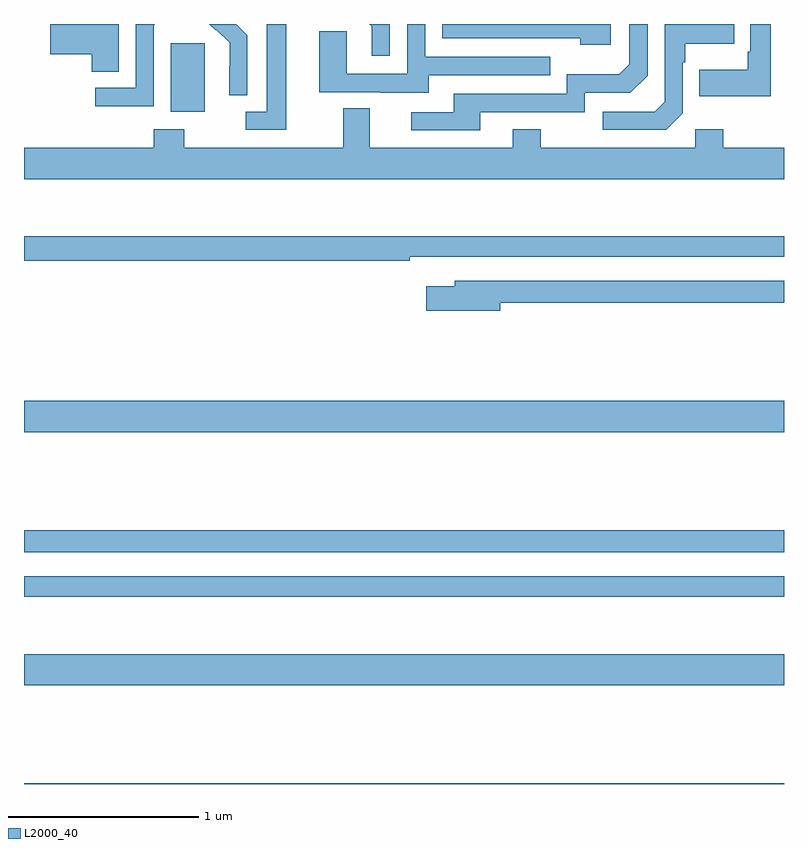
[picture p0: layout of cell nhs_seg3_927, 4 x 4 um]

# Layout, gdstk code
import gdstk
lib = gdstk.Library(unit=1e-6, precision=1e-09)
def R(c, l, rs):  # rectangles x0, y0, x1, y1
    for r in rs: c.add(gdstk.rectangle(r[:2], r[2:], *l))
def P(c, l, *ps):  # polygons
    for p in ps: c.add(gdstk.Polygon(p, *l))
L2000_40 = (2000, 40)

nhs_seg3_927 = lib.new_cell('nhs_seg3_927')
R(nhs_seg3_927, L2000_40, [(159,696.4,163,696.404), (159,696.92,163,697.084), (159,697.386,163,697.494), (159,697.62,163,697.736), (159,698.252,163,698.416), (159.773,699.938,159.952,700.299)])
P(nhs_seg3_927, L2000_40, [(160.176,700.342),(160.118,700.4),(159.976,700.4),(160.008,700.368),(160.011,700.371),(160.082,700.301),(160.082,700.178),(160.08,700.178),(160.08,700.024),(160.176,700.024)],
  [(160.926,700.4),(160.818,700.4),(160.829,700.389),(160.829,700.233),(160.926,700.233)],
  [(160.381,700.4),(160.277,700.4),(160.277,699.939),(160.167,699.939),(160.167,699.843),(160.381,699.843)],
  [(161.401,699.936),(161.952,699.936),(161.952,700.038),(162.192,700.038),(162.282,700.128),(162.282,700.4),(162.186,700.4),(162.186,700.188),(162.133,700.135),(161.856,700.135),(161.856,700.032),(161.261,700.032),(161.261,699.936),(161.037,699.936),(161.037,699.84),(161.401,699.84)],
  [(162.468,699.93),(162.468,700.199),(162.481,700.199),(162.481,700.295),(162.737,700.295),(162.737,700.4),(162.372,700.4),(162.372,699.99),(162.321,699.939),(162.045,699.939),(162.045,699.843),(162.381,699.843)],
  [(162.931,700.4),(162.822,700.4),(162.822,700.255),(162.81,700.255),(162.81,700.159),(162.553,700.159),(162.553,700.019),(162.931,700.019)],
  [(161.131,700.131),(161.771,700.131),(161.771,700.227),(161.112,700.227),(161.112,700.4),(161.016,700.4),(161.016,700.137),(160.698,700.137),(160.698,700.361),(160.553,700.361),(160.553,700.041),(160.877,700.041),(160.877,700.037),(161.131,700.037)],
  [(159.499,700.4),(159.138,700.4),(159.138,700.241),(159.356,700.241),(159.356,700.15),(159.499,700.15)],
  [(162.088,700.4),(161.202,700.4),(161.202,700.326),(161.927,700.326),(161.927,700.292),(162.088,700.292)],
  [(159.684,700.396),(159.687,700.396),(159.687,700.4),(159.588,700.4),(159.588,700.065),(159.375,700.065),(159.375,699.967),(159.684,699.967)],
  [(163,699.748),(162.681,699.748),(162.681,699.847),(162.534,699.847),(162.534,699.748),(161.721,699.748),(161.721,699.847),(161.573,699.847),(161.573,699.748),(160.819,699.748),(160.819,699.956),(160.679,699.956),(160.679,699.748),(159.843,699.748),(159.843,699.847),(159.683,699.847),(159.683,699.748),(159,699.748),(159,699.584),(163,699.584)],
  [(161.03,699.174),(163,699.174),(163,699.283),(159,699.283),(159,699.154),(161.03,699.154)],
  [(161.506,698.932),(163,698.932),(163,699.048),(161.267,699.048),(161.267,699.019),(161.118,699.019),(161.118,698.89),(161.506,698.89)])

lib.write_gds('nhs_seg3_927.gds')
